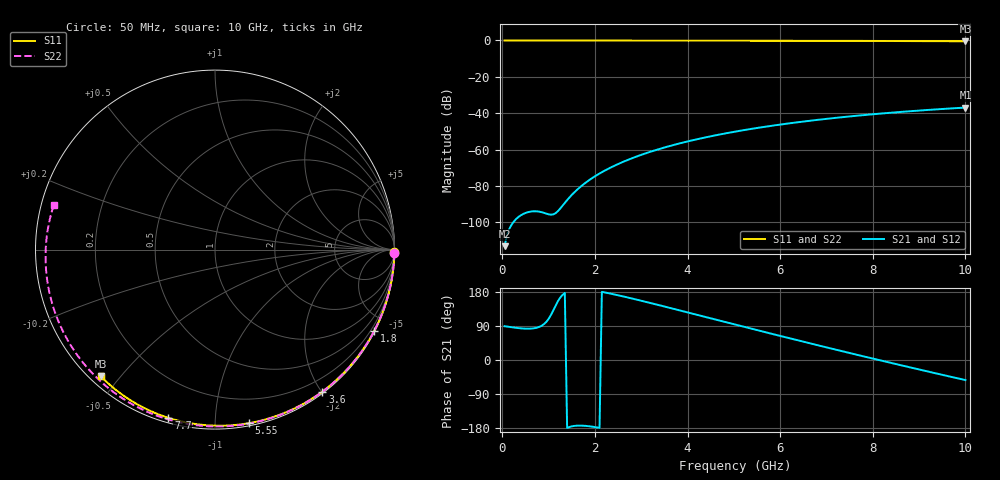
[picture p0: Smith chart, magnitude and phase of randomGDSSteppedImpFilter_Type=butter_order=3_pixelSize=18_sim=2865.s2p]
! freq	dB(S11)	phase(S11)	dB(S12)	phase(S12)
!  dB(S21)	phase(S21)	dB(S22)	phase(S22)
!S-par simulation data
#  GHz  S  DB  R 50
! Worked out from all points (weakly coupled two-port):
!   200 points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, 50 MHz to 10 GHz, reference 50 ohm
!   highest |S21| = -36.92 dB at 10 GHz (marker M1); lowest = -113.1 dB at 50 MHz (marker M2)
!   lowest |S11| = -0.4 dB at 10 GHz (marker M3), VSWR 38.98, Z = 1.54 - j22.2 ohm
!   |S11| at or under -10 dB: nowhere
!   |S22| runs from -0.6 to 0.0 dB; largest |S21 - S12| = 0
!   S11 on the Smith chart (normalised r, x): 50 MHz: open; 1.8 GHz: 0.04, -4.16; 3.6 GHz: 0.02, -2.01; 5.55 GHz: 0.02, -1.21; 7.7 GHz: 0.02, -0.76; 10 GHz: 0.03, -0.44
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0.05  -0.00 -0.8  -113.13 89.1  -113.13 89.1  -0.00 -1.1
0.45  -0.01 -6.8  -95.44 83.0  -95.44 83.0  -0.01 -10.2
0.85  -0.02 -12.9  -94.44 90.4  -94.44 90.4  -0.02 -19.1
1.25  -0.02 -18.9  -92.46 164.5  -92.46 164.5  -0.04 -28.0
1.7  -0.03 -25.6  -80.20 -173.1  -80.20 -173.1  -0.05 -37.8
1.75  -0.03 -26.3  -79.18 -173.4  -79.18 -173.4  -0.05 -38.9
1.8  -0.03 -27.1  -78.20 -173.9  -78.20 -173.9  -0.05 -40.0
2.1  -0.04 -31.5  -73.17 -179.1  -73.17 -179.1  -0.06 -46.4
2.5  -0.05 -37.3  -67.97 170.9  -67.97 170.9  -0.07 -54.8
2.9  -0.06 -43.0  -63.82 159.4  -63.82 159.4  -0.08 -63.1
3.4  -0.07 -50.1  -59.62 144.3  -59.62 144.3  -0.10 -73.3
3.6  -0.07 -52.9  -58.16 138.1  -58.16 138.1  -0.10 -77.2
4.3  -0.09 -62.5  -53.78 116.3  -53.78 116.3  -0.13 -90.8
5.05  -0.11 -72.5  -50.04 92.9  -50.04 92.9  -0.16 -104.9
5.55  -0.13 -79.0  -47.94 77.4  -47.94 77.4  -0.19 -114.1
6.1  -0.15 -86.0  -45.91 60.5  -45.91 60.5  -0.22 -124.0
6.7  -0.18 -93.4  -43.98 42.3  -43.98 42.3  -0.26 -134.7
7.2  -0.21 -99.5  -42.56 27.3  -42.56 27.3  -0.30 -143.5
7.7  -0.24 -105.5  -41.29 12.5  -41.29 12.5  -0.34 -152.4
8.35  -0.29 -113.2  -39.82 -6.4  -39.82 -6.4  -0.41 -164.1
9.2  -0.36 -123.0  -38.19 -30.7  -38.19 -30.7  -0.51 -179.8
10  -0.45 -132.1  -36.92 -53.0  -36.92 -53.0  -0.61 164.7
